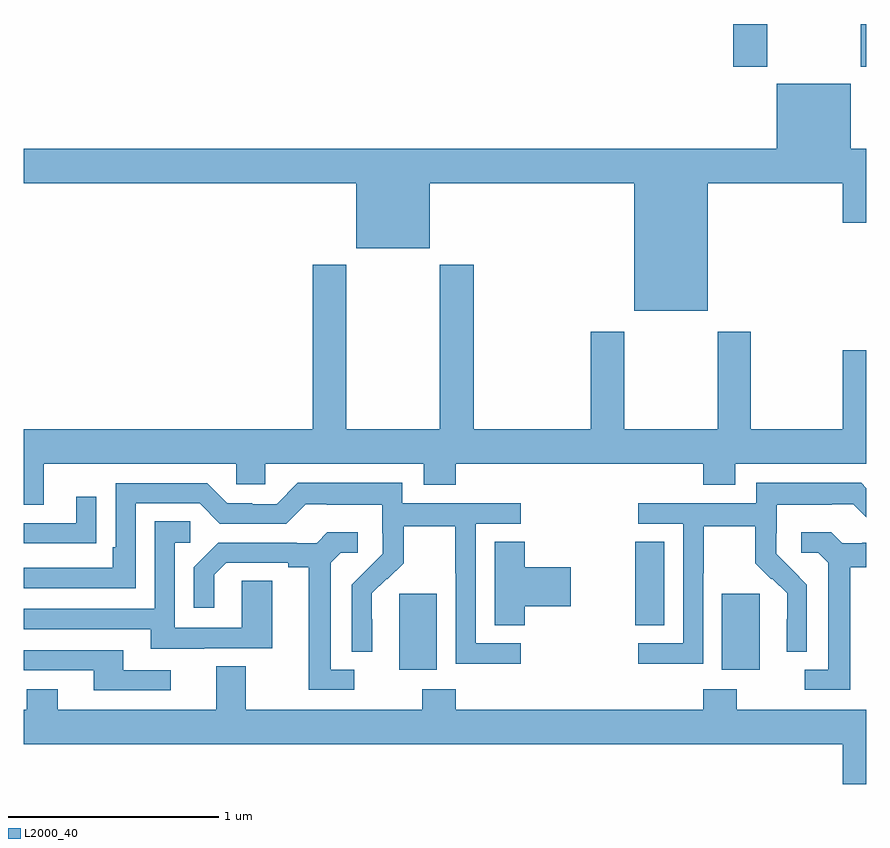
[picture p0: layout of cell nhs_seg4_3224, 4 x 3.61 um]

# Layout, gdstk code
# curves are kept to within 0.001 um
import gdstk
lib = gdstk.Library(unit=1e-6, precision=1e-09)
def R(c, l, rs):  # rectangles x0, y0, x1, y1
    for r in rs: c.add(gdstk.rectangle(r[:2], r[2:], *l))
def P(c, l, *ps):  # polygons
    for p in ps: c.add(gdstk.Polygon(p, *l))
L2000_40 = (2000, 40)

nhs_seg4_3224 = lib.new_cell('nhs_seg4_3224')
R(nhs_seg4_3224, L2000_40, [(282.782,803.834,282.961,804.195), (284.315,803.834,284.494,804.195), (283.903,804.046,284.041,804.443), (284.369,806.697,284.529,806.9), (284.974,806.697,285,806.9)])
P(nhs_seg4_3224, L2000_40, [(284.248,806.144),(284.888,806.144),(284.888,805.956),(285,805.956),(285,806.308),(284.926,806.308),(284.926,806.617),(284.576,806.617),(284.576,806.308),(281,806.308),(281,806.144),(282.578,806.144),(282.578,805.835),(282.928,805.835),(282.928,806.144),(283.898,806.144),(283.898,805.538),(284.248,805.538)],
  [(281.095,804.812),(282.009,804.812),(282.009,804.714),(282.147,804.714),(282.147,804.812),(282.899,804.812),(282.899,804.713),(283.052,804.713),(283.052,804.812),(284.225,804.812),(284.225,804.713),(284.377,804.713),(284.377,804.812),(285,804.812),(285,805.351),(284.888,805.351),(284.888,804.976),(284.451,804.976),(284.451,805.438),(284.296,805.438),(284.296,804.976),(283.851,804.976),(283.851,805.438),(283.691,805.438),(283.691,804.976),(283.136,804.976),(283.136,805.756),(282.976,805.756),(282.976,804.976),(282.531,804.976),(282.531,805.756),(282.371,805.756),(282.371,804.976),(281,804.976),(281,804.618),(281.095,804.618)],
  [(284.226,804.292),(284.229,804.292),(284.229,804.516),(284.473,804.516),(284.473,804.341),(284.55,804.264),(284.553,804.267),(284.624,804.197),(284.624,804.074),(284.622,804.074),(284.622,803.92),(284.718,803.92),(284.718,804.238),(284.572,804.386),(284.572,804.483),(284.574,804.483),(284.574,804.617),(284.837,804.617),(284.837,804.621),(284.937,804.621),(285,804.558),(285,804.696),(284.975,804.721),(284.478,804.721),(284.478,804.624),(283.917,804.624),(283.917,804.528),(284.13,804.528),(284.13,803.961),(283.917,803.961),(283.917,803.863),(284.226,803.863)],
  [(283.36,803.961),(283.146,803.961),(283.146,804.528),(283.36,804.528),(283.36,804.624),(282.798,804.624),(282.798,804.721),(282.301,804.721),(282.201,804.621),(282.086,804.621),(282.086,804.624),(281.967,804.624),(281.871,804.72),(281.436,804.72),(281.436,804.415),(281.423,804.415),(281.423,804.318),(281,804.318),(281,804.222),(281.532,804.222),(281.532,804.624),(281.835,804.624),(281.931,804.528),(282.246,804.528),(282.339,804.621),(282.439,804.621),(282.439,804.617),(282.702,804.617),(282.702,804.483),(282.704,804.483),(282.704,804.386),(282.558,804.238),(282.558,803.92),(282.654,803.92),(282.653,804.197),(282.723,804.267),(282.726,804.264),(282.803,804.341),(282.803,804.516),(283.048,804.516),(283.048,804.292),(283.05,804.292),(283.05,803.863),(283.36,803.863)],
  [(281.243,804.436),(281.345,804.436),(281.345,804.655),(281.249,804.655),(281.249,804.531),(281,804.531),(281,804.435),(281.243,804.435)],
  [(281.857,803.937),(282.181,803.937),(282.181,804.257),(282.036,804.257),(282.036,804.033),(281.718,804.033),(281.718,804.438),(281.791,804.438),(281.791,804.539),(281.622,804.539),(281.622,804.123),(281,804.123),(281,804.027),(281.603,804.027),(281.603,803.933),(281.857,803.933)],
  [(282.568,803.835),(282.457,803.835),(282.457,804.343),(282.504,804.39),(282.586,804.39),(282.586,804.487),(282.442,804.487),(282.39,804.435),(282.296,804.435),(282.296,804.438),(281.924,804.438),(281.808,804.322),(281.808,804.129),(281.905,804.129),(281.905,804.285),(281.962,804.342),(282.257,804.342),(282.257,804.32),(282.353,804.32),(282.353,803.739),(282.568,803.739)],
  [(284.923,804.32),(285,804.32),(285,804.438),(284.98,804.438),(284.98,804.435),(284.886,804.435),(284.834,804.487),(284.691,804.487),(284.691,804.39),(284.772,804.39),(284.819,804.343),(284.819,803.835),(284.709,803.835),(284.709,803.739),(284.923,803.739)],
  [(283.379,804.137),(283.597,804.137),(283.597,804.32),(283.379,804.32),(283.379,804.443),(283.235,804.443),(283.235,804.046),(283.379,804.046)],
  [(281.698,803.832),(281.473,803.832),(281.473,803.928),(281,803.928),(281,803.832),(281.333,803.832),(281.333,803.736),(281.698,803.736)],
  [(285,803.644),(284.385,803.644),(284.385,803.743),(284.225,803.743),(284.225,803.644),(283.052,803.644),(283.052,803.743),(282.892,803.743),(282.892,803.644),(282.055,803.644),(282.055,803.852),(281.915,803.852),(281.915,803.644),(281.161,803.644),(281.161,803.743),(281.014,803.743),(281.014,803.644),(281,803.644),(281,803.48),(284.888,803.48),(284.888,803.292),(285,803.292)])

lib.write_gds('nhs_seg4_3224.gds')
